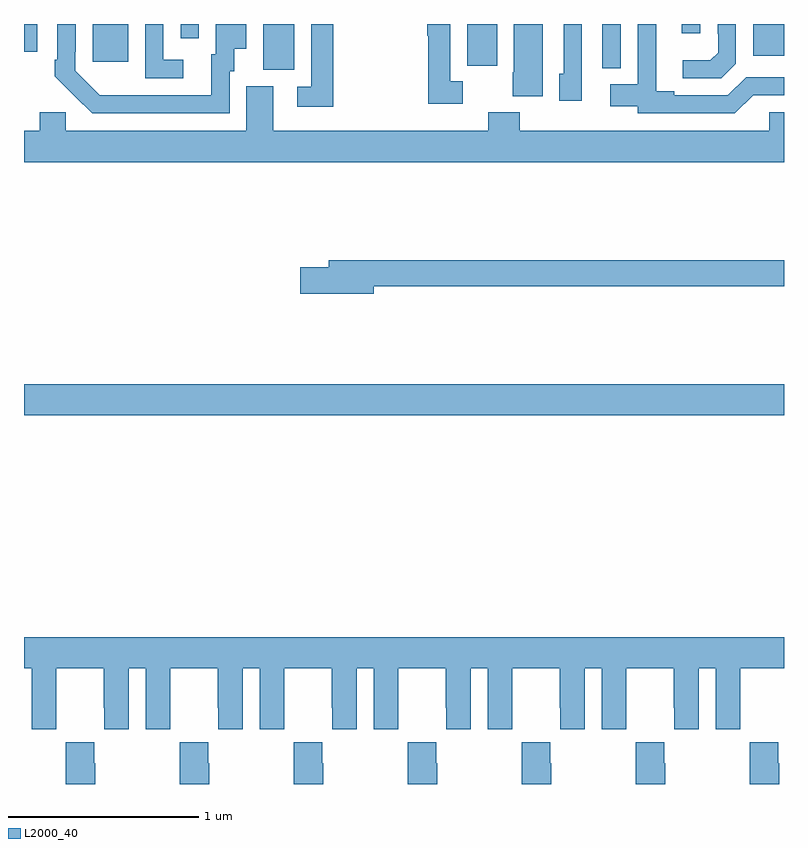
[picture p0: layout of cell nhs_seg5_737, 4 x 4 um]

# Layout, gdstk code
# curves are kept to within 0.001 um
import gdstk
lib = gdstk.Library(unit=1e-6, precision=1e-09)
def R(c, l, rs):  # rectangles x0, y0, x1, y1
    for r in rs: c.add(gdstk.rectangle(r[:2], r[2:], *l))
def P(c, l, *ps):  # polygons
    for p in ps: c.add(gdstk.Polygon(p, *l))
L2000_40 = (2000, 40)

nhs_seg5_737 = lib.new_cell('nhs_seg5_737')
R(nhs_seg5_737, L2000_40, [(157,876.74,161,876.904), (158.258,878.557,158.422,878.799), (160.044,878.567,160.14,878.799), (159.332,878.58,159.49,878.799), (157.361,878.601,157.549,878.799), (160.838,878.631,161,878.799), (157,878.652,157.071,878.799), (157.824,878.724,157.92,878.799), (160.463,878.751,160.56,878.799)])
P(nhs_seg5_737, L2000_40, [(158.082,878.55),(158.107,878.55),(158.107,878.669),(158.17,878.669),(158.17,878.799),(158.009,878.799),(158.009,878.64),(157.985,878.64),(157.985,878.424),(157.398,878.425),(157.269,878.553),(157.269,878.653),(157.272,878.653),(157.272,878.799),(157.176,878.799),(157.176,878.611),(157.161,878.611),(157.161,878.523),(157.358,878.328),(158.082,878.328)],
  [(160.746,878.589),(160.746,878.799),(160.65,878.799),(160.65,878.749),(160.653,878.749),(160.653,878.649),(160.613,878.609),(160.467,878.609),(160.467,878.514),(160.671,878.514)],
  [(159.31,878.499),(159.243,878.499),(159.243,878.799),(159.123,878.799),(159.123,878.736),(159.127,878.736),(159.127,878.379),(159.31,878.379)],
  [(157.837,878.61),(157.734,878.61),(157.734,878.799),(157.638,878.799),(157.638,878.514),(157.837,878.514)],
  [(159.73,878.799),(159.578,878.799),(159.578,878.544),(159.572,878.544),(159.572,878.42),(159.73,878.42)],
  [(160.837,878.424),(161,878.424),(161,878.518),(160.936,878.518),(160.936,878.52),(160.8,878.52),(160.704,878.424),(160.423,878.424),(160.423,878.444),(160.327,878.444),(160.327,878.799),(160.23,878.799),(160.23,878.482),(160.086,878.482),(160.086,878.366),(160.23,878.366),(160.23,878.328),(160.741,878.328)],
  [(159.936,878.799),(159.84,878.799),(159.84,878.538),(159.818,878.538),(159.818,878.394),(159.936,878.394)],
  [(158.627,878.799),(158.511,878.799),(158.511,878.469),(158.439,878.469),(158.439,878.364),(158.627,878.364)],
  [(161,878.335),(160.922,878.335),(160.922,878.236),(159.608,878.236),(159.608,878.335),(159.443,878.335),(159.443,878.236),(158.311,878.236),(158.311,878.472),(158.171,878.472),(158.171,878.236),(157.221,878.236),(157.221,878.334),(157.082,878.334),(157.082,878.236),(157,878.236),(157,878.072),(161,878.072)],
  [(158.842,877.42),(161,877.42),(161,877.556),(158.603,877.556),(158.603,877.52),(158.454,877.52),(158.454,877.378),(158.842,877.378)],
  [(157,875.408),(157.04,875.408),(157.04,875.088),(157.17,875.088),(157.17,875.2),(157.171,875.2),(157.171,875.408),(157.421,875.408),(157.421,875.2),(157.422,875.2),(157.422,875.088),(157.552,875.088),(157.552,875.408),(157.64,875.408),(157.64,875.088),(157.77,875.088),(157.77,875.2),(157.771,875.2),(157.771,875.408),(158.021,875.408),(158.021,875.2),(158.022,875.2),(158.022,875.088),(158.152,875.088),(158.152,875.408),(158.24,875.408),(158.24,875.088),(158.37,875.088),(158.37,875.2),(158.371,875.2),(158.371,875.408),(158.621,875.408),(158.621,875.2),(158.622,875.2),(158.622,875.088),(158.752,875.088),(158.752,875.408),(158.84,875.408),(158.84,875.088),(158.97,875.088),(158.97,875.2),(158.971,875.2),(158.971,875.408),(159.221,875.408),(159.221,875.2),(159.222,875.2),(159.222,875.088),(159.352,875.088),(159.352,875.408),(159.44,875.408),(159.44,875.088),(159.57,875.088),(159.57,875.2),(159.571,875.2),(159.571,875.408),(159.821,875.408),(159.821,875.2),(159.822,875.2),(159.822,875.088),(159.952,875.088),(159.952,875.408),(160.04,875.408),(160.04,875.088),(160.17,875.088),(160.17,875.2),(160.171,875.2),(160.171,875.408),(160.421,875.408),(160.421,875.2),(160.422,875.2),(160.422,875.088),(160.552,875.088),(160.552,875.408),(160.64,875.408),(160.64,875.088),(160.77,875.088),(160.77,875.2),(160.771,875.2),(160.771,875.408),(161,875.408),(161,875.572),(157,875.572)],
  [(157.374,874.907),(157.371,874.907),(157.371,875.02),(157.221,875.02),(157.221,874.907),(157.219,874.907),(157.219,874.799),(157.374,874.799)],
  [(157.974,874.907),(157.971,874.907),(157.971,875.02),(157.821,875.02),(157.821,874.907),(157.819,874.907),(157.819,874.799),(157.974,874.799)],
  [(158.574,874.907),(158.571,874.907),(158.571,875.02),(158.421,875.02),(158.421,874.907),(158.419,874.907),(158.419,874.799),(158.574,874.799)],
  [(159.174,874.907),(159.171,874.907),(159.171,875.02),(159.021,875.02),(159.021,874.907),(159.019,874.907),(159.019,874.799),(159.174,874.799)],
  [(159.774,874.907),(159.771,874.907),(159.771,875.02),(159.621,875.02),(159.621,874.907),(159.619,874.907),(159.619,874.799),(159.774,874.799)],
  [(160.374,874.907),(160.371,874.907),(160.371,875.02),(160.221,875.02),(160.221,874.907),(160.219,874.907),(160.219,874.799),(160.374,874.799)],
  [(160.974,874.907),(160.971,874.907),(160.971,875.02),(160.821,875.02),(160.821,874.907),(160.819,874.907),(160.819,874.799),(160.974,874.799)])

lib.write_gds('nhs_seg5_737.gds')
